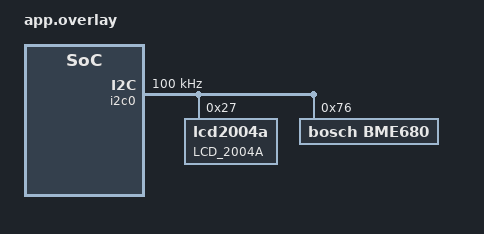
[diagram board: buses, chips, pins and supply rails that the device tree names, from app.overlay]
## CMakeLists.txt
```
cmake_minimum_required(VERSION 3.20.0)
find_package(Zephyr REQUIRED HINTS $ENV{ZEPHYR_BASE})
project(lcd_hello)

target_include_directories(app PRIVATE include)
target_sources(app PRIVATE src/main.c src/lcd.c)
```

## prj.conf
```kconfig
CONFIG_MAIN_STACK_SIZE=2048

CONFIG_I2C_INIT_PRIORITY=60
CONFIG_LOG=y

# Enable I2C
CONFIG_I2C=y

# Enable sensor framework
CONFIG_SENSOR=y

# Enable BME680 driver
CONFIG_BME680=y

# Enable logging to see console output
CONFIG_LOG=y
CONFIG_LOG_MODE_IMMEDIATE=y
CONFIG_LOG_DEFAULT_LEVEL=4

# Enable serial console for output
CONFIG_SERIAL=y

# (Optional) Enable WiFi if needed for your board
#CONFIG_WIFI=y

# Enable detailed BME680 logs (optional for debugging)
#CONFIG_BME680_LOG_LEVEL_DBG=y
```

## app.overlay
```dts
&i2c0 {
    status = "okay";
    pinctrl-0 = <&i2c0_default>;
    pinctrl-names = "default";
    clock-frequency = <I2C_BITRATE_STANDARD>;
    
    lcd2004a@27 {
        compatible = "lcd2004a";
        reg = <0x27>;  // Common PCF8574 I2C address
        label = "LCD_2004A";
    };

    bme680@76 {
        status = "okay";
        compatible = "bosch,bme680";
        reg = <0x76>;
        label = "BME680";
    };
};
```

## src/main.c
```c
#include "lcd.h"
#include <zephyr/drivers/sensor.h>
#include <zephyr/logging/log.h>

LOG_MODULE_REGISTER(bme680_sample, LOG_LEVEL_INF);

void convert_into_string(uint8_t *str,int32_t val1,int32_t val2){
    val2/=10000;
    
    str[0]=(val1/10)+48;
    str[1]=(val1%10)+48;
   
    str[2]='.';
   
    str[3]=((val2/10)%10)+48;
    str[4]=((val2%10)%10)+48;
    str[5]=0;
    str[6]=0;
    str[7]='\0';
}


int main(void) {
 
    uint8_t str[10];
    const struct device *dev = DEVICE_DT_GET_ANY(bosch_bme680);

    const struct device *i2c_dev = DEVICE_DT_GET(DT_NODELABEL(i2c0));
    
    if (!device_is_ready(i2c_dev)) {
        printk("I2C not ready!\n");
        return 0;
    }
    
    if (!dev) {
        LOG_ERR("BME680: Device not found.");
        return 0;
    }

    if (!device_is_ready(dev)) {
        LOG_ERR("BME680: Device is not ready.");
        return 0;
    }

    LOG_INF("BME680: Device is ready at %s", dev->name);

    lcd_init(i2c_dev);
    
    struct sensor_value temp, press, hum, gas_res;
    
    while(1){   
   
        
        if (sensor_sample_fetch(dev) < 0) {
            LOG_ERR("Failed to fetch sample");
            continue;
        }

        if (sensor_channel_get(dev, SENSOR_CHAN_AMBIENT_TEMP, &temp) < 0) {
            LOG_ERR("Failed to get temperature");
            continue;
        }
        if (sensor_channel_get(dev, SENSOR_CHAN_PRESS, &press) < 0) {
            LOG_ERR("Failed to get pressure");
            continue;
        }

        if (sensor_channel_get(dev, SENSOR_CHAN_HUMIDITY, &hum) < 0) {
            LOG_ERR("Failed to get humidity");
            continue;
        }

        if (sensor_channel_get(dev, SENSOR_CHAN_GAS_RES, &gas_res) < 0) {
            LOG_WRN("Gas resistance not available (optional feature)");
            gas_res.val1 = 0;
            gas_res.val2 = 0;
        }

        LOG_INF("Temp: %d.%06d C", temp.val1, temp.val2);
        LOG_INF("Press: %d.%06d kPa", press.val1, press.val2);
        LOG_INF("Humidity: %d.%06d %%", hum.val1, hum.val2);
        LOG_INF("Gas Resistance: %d.%06d Ohms", gas_res.val1, gas_res.val2);
        
   //     lcd_init(i2c_dev);

        lcd_send_cmd(i2c_dev,0x80);
        lcd_print(i2c_dev,"GHANSHYAM PATIDAR");
    
        lcd_send_cmd(i2c_dev,0x94);

        convert_into_string(str,temp.val1,temp.val2);
        str[5]=0xdf;
        str[6]='C';

        lcd_print(i2c_dev,"Temp= ");
        lcd_print(i2c_dev,str);
        
        lcd_send_cmd(i2c_dev,0xd4);
        
        convert_into_string(str,press.val1,press.val2);
        str[5]='K';
        str[6]='p';
        lcd_print(i2c_dev,"Press= ");
        lcd_print(i2c_dev,str);
    
        // lcd_send_cmd(i2c_dev,0x01);
       // k_msleep(2); 
        
        k_sleep(K_SECONDS(2));
        
    }
    while(1);
}
```

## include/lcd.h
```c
#ifndef LCD_H
#define LCD_H

#include <zephyr/kernel.h>
#include <zephyr/device.h>
#include <zephyr/drivers/i2c.h>
#include <string.h>
#include <zephyr/sys/printk.h>

void lcd_init(const struct device *i2c_dev);
void lcd_send_cmd(const struct device *i2c_dev,uint8_t cmd);
void lcd_send_data(const struct device *i2c_dev,uint8_t data);
void lcd_print(const struct device *i2c_dev,char *str);

#endif
```
